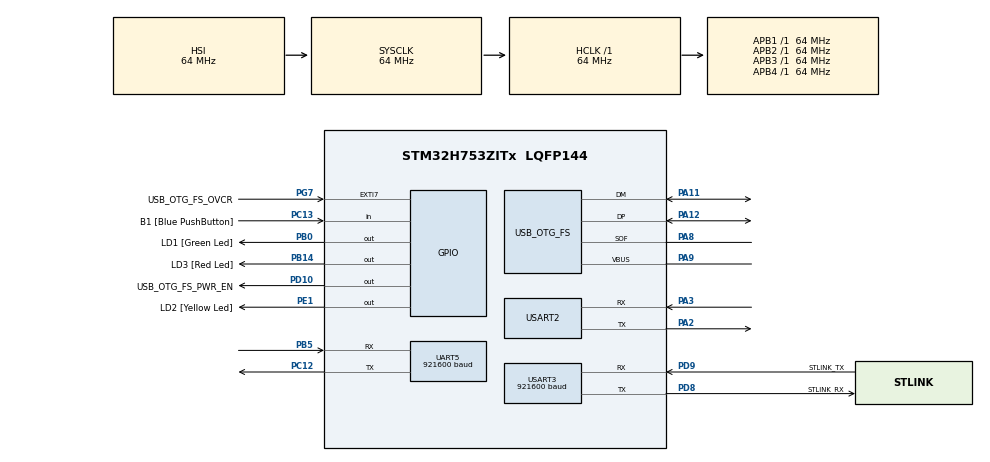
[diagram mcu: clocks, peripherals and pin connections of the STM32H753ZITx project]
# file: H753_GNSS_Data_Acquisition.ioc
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CORTEX_M7.CPU_DCache=Disabled
CORTEX_M7.CPU_ICache=Disabled
CORTEX_M7.MPU_Control=__NULL
Dma.Request0=USART2_RX
Dma.USART2_RX.0.Direction=DMA_PERIPH_TO_MEMORY
Dma.USART2_RX.0.EventEnable=DISABLE
Dma.USART2_RX.0.FIFOMode=DMA_FIFOMODE_DISABLE
Dma.USART2_RX.0.Instance=DMA1_Stream0
Dma.USART2_RX.0.MemDataAlignment=DMA_MDATAALIGN_BYTE
Dma.USART2_RX.0.MemInc=DMA_MINC_ENABLE
Dma.USART2_RX.0.Mode=DMA_CIRCULAR
Dma.USART2_RX.0.PeriphDataAlignment=DMA_PDATAALIGN_BYTE
Dma.USART2_RX.0.PeriphInc=DMA_PINC_DISABLE
Dma.USART2_RX.0.Polarity=HAL_DMAMUX_REQ_GEN_RISING
Dma.USART2_RX.0.Priority=DMA_PRIORITY_LOW
Dma.USART2_RX.0.RequestNumber=1
Dma.USART2_RX.0.SignalID=NONE
Dma.USART2_RX.0.SyncEnable=DISABLE
Dma.USART2_RX.0.SyncPolarity=HAL_DMAMUX_SYNC_NO_EVENT
Dma.USART2_RX.0.SyncRequestNumber=1
Dma.USART2_RX.0.SyncSignalID=NONE
Mcu.Family=STM32H7
Mcu.Name=STM32H753ZITx
Mcu.Package=LQFP144
NVIC.DMA1_Stream0_IRQn=true\:0\:0\:false\:false\:true\:false\:true\:true
NVIC.PriorityGroup=NVIC_PRIORITYGROUP_4
NVIC.UART5_IRQn=true\:0\:0\:false\:false\:true\:true\:true\:true
NVIC.USART2_IRQn=true\:0\:0\:false\:false\:true\:true\:true\:true
NVIC.USART3_IRQn=true\:0\:0\:false\:false\:true\:true\:true\:true
PA11.Mode=Device_Only
PA11.Signal=USB_OTG_FS_DM
PA12.Mode=Device_Only
PA12.Signal=USB_OTG_FS_DP
PA2.Mode=Asynchronous
PA2.Signal=USART2_TX
PA3.Mode=Asynchronous
PA3.Signal=USART2_RX
PA8.Mode=Activate_SOF_FS
PA8.Signal=USB_OTG_FS_SOF
PA9.Mode=Activate_VBUS
PA9.Signal=USB_OTG_FS_VBUS
PB0.GPIO_Label=LD1 [Green Led]
PB0.Signal=GPIO_Output
PB14.GPIO_Label=LD3 [Red Led]
PB14.Signal=GPIO_Output
PB5.Mode=Asynchronous
PB5.Signal=UART5_RX
PC12.Mode=Asynchronous
PC12.Signal=UART5_TX
PC13.GPIO_Label=B1 [Blue PushButton]
PC13.Signal=GPIO_Input
PC14-OSC32_IN\ (OSC32_IN).Signal=RCC_OSC32_IN
PC15-OSC32_OUT\ (OSC32_OUT).Signal=RCC_OSC32_OUT
PD10.GPIO_Label=USB_OTG_FS_PWR_EN
PD10.Signal=GPIO_Output
PD8.GPIO_Label=STLINK_RX
PD8.Mode=Asynchronous
PD8.Signal=USART3_TX
PD9.GPIO_Label=STLINK_TX
PD9.Mode=Asynchronous
PD9.Signal=USART3_RX
PE1.GPIO_Label=LD2 [Yellow Led]
PE1.Signal=GPIO_Output
PG7.GPIO_Label=USB_OTG_FS_OVCR
PG7.Signal=GPXTI7
PH0-OSC_IN\ (PH0).Mode=HSE-External-Oscillator
PH0-OSC_IN\ (PH0).Signal=RCC_OSC_IN
PH1-OSC_OUT\ (PH1).Mode=HSE-External-Oscillator
PH1-OSC_OUT\ (PH1).Signal=RCC_OSC_OUT
ProjectManager.HeapSize=0x200
ProjectManager.StackSize=0x400
ProjectManager.TargetToolchain=STM32CubeIDE
RCC.ADCFreq_Value=16125000
RCC.APB1Freq_Value=64000000
RCC.APB2Freq_Value=64000000
RCC.APB3Freq_Value=64000000
RCC.APB4Freq_Value=64000000
RCC.CortexFreq_Value=64000000
RCC.DIVM1=1
RCC.DIVN1=24
RCC.DIVQ1=4
RCC.HCLKFreq_Value=64000000
RCC.HSE_VALUE=8000000
RCC.PLLFRACN=0
RCC.PWR_Regulator_Voltage_Scale=PWR_REGULATOR_VOLTAGE_SCALE2
RCC.SYSCLKFreq_VALUE=64000000
RCC.USBFreq_Value=48000000
UART5.BaudRate=921600
USART2.VirtualMode-Asynchronous=VM_ASYNC
USART3.AutoBaudRateEnableParam=UART_ADVFEATURE_AUTOBAUDRATE_DISABLE
USART3.BaudRate=921600
USART3.ClockPrescaler=PRESCALER_DIV1
USART3.DMADisableonRxErrorParam=ADVFEATURE_DMA_ENABLEONRXERROR
USART3.DataInvertParam=ADVFEATURE_DATAINV_DISABLE
USART3.FIFOMode=FIFOMODE_DISABLE
USART3.MSBFirstParam=ADVFEATURE_MSBFIRST_DISABLE
USART3.Mode=MODE_TX_RX
USART3.OneBitSampling=UART_ONE_BIT_SAMPLE_DISABLE
USART3.OverSampling=UART_OVERSAMPLING_16
USART3.OverrunDisableParam=ADVFEATURE_OVERRUN_ENABLE
USART3.Parity=PARITY_NONE
USART3.RXFIFOThreshold=RXFIFO_THRESHOLD_1EIGHTHFULL
USART3.RxPinLevelInvertParam=ADVFEATURE_RXINV_DISABLE
USART3.StopBits=STOPBITS_1
USART3.SwapParam=ADVFEATURE_SWAP_DISABLE
USART3.TXFIFOThreshold=TXFIFO_THRESHOLD_1EIGHTHFULL
USART3.TxPinLevelInvertParam=ADVFEATURE_TXINV_DISABLE
USART3.VirtualMode-Asynchronous=VM_ASYNC
USART3.WordLength=WORDLENGTH_8B
USB_OTG_FS.Sof_enable=ENABLE
USB_OTG_FS.VirtualMode=Device_Only
USB_OTG_FS.battery_charging_enable=ENABLE
USB_OTG_FS.low_power_enable=DISABLE
USB_OTG_FS.lpm_enable=DISABLE
USB_OTG_FS.use_dedicated_ep1=DISABLE
USB_OTG_FS.vbus_sensing_enable=ENABLE
board=NUCLEO-H753ZI

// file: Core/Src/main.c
/* USER CODE BEGIN Header */
/**
  ******************************************************************************
  * @file           : main.c
  * @brief          : Main program body
  ******************************************************************************
  * @attention
  *
  * Copyright (c) 2024 STMicroelectronics.
  * All rights reserved.
  *
  * This software is licensed under terms that can be found in the LICENSE file
  * in the root directory of this software component.
  * If no LICENSE file comes with this software, it is provided AS-IS.
  *
  ******************************************************************************
  */
/* USER CODE END Header */
#include "main.h"
#include "dma.h"
#include "usart.h"
#include "usb_otg.h"
#include "gpio.h"

/* USER CODE BEGIN Includes */
#include "GPSUtils.h"
/* USER CODE END Includes */

/* USER CODE BEGIN PV */
#define UART_BUFFER_SIZE 3000

uint8_t rxBuffer[UART_BUFFER_SIZE];
uint8_t rxData;
uint16_t rxIndex = 0;
volatile uint8_t sentence_ready = 0;
volatile uint8_t parsing_complete = 0;
GNGGA_Data gngga_data;
GNRMC_Data gnrmc_data;
GNGLL_Data gngll_data;
GNVTG_Data gnvtk_data;
GSA_Talker_Data gsa_talker_gp, gsa_talker_gl, gsa_talker_ga, gsa_talker_gb;
volatile uint8_t data_ready = 0;
volatile uint32_t command_counter = 0;
/* Global structure to hold all satellite data for the current PPS */
SatelliteData satellite_data;

/* USER CODE END PV */

void SystemClock_Config(void);
/* USER CODE BEGIN PFP */
void parse_data(void);
void reset_satellite_data(void);
void GNSS_data_to_PC(void);
/* USER CODE END PFP */

/* USER CODE BEGIN 0 */
int _write(int fd, char* ptr, int len) {
  HAL_StatusTypeDef hstatus;

  if (fd == 1 || fd == 2) {
    hstatus = HAL_UART_Transmit(&huart3, (uint8_t *) ptr, len, HAL_MAX_DELAY);
    if (hstatus == HAL_OK)
      return len;
    else
      return -1;
  }
  return -1;
}

/* USER CODE END 0 */

int main(void)
{

  /* MCU Configuration--------------------------------------------------------*/

  /* Reset of all peripherals, Initializes the Flash interface and the Systick. */
  HAL_Init();

  /* Configure the system clock */
  SystemClock_Config();

  /* Initialize all configured peripherals */
  MX_GPIO_Init();
  MX_DMA_Init();
  MX_USB_OTG_FS_PCD_Init();
  MX_USART3_UART_Init();
  MX_USART2_UART_Init();
  MX_UART5_Init();
  /* USER CODE BEGIN 2 */
//  HAL_UART_Receive_IT(&huart2, &rxData, 1);
  HAL_UART_Receive_DMA(&huart2, &rxData, 1);
  reset_satellite_data();
  HAL_Delay(1000);
  /* USER CODE END 2 */

  /* Infinite loop */
  /* USER CODE BEGIN WHILE */
  while (1)
  {
	if (sentence_ready)
	{
	  parse_data();
	  sentence_ready = 0;
	}

	if(parsing_complete)
	{
		if (satellite_data.num_satellites > 0)
		{
			GNSS_data_to_PC();  // Transmit to PC only if valid satellite data
			GPS_data_debug();
		}

	  parsing_complete = 0;
	  reset_satellite_data();  // Reset satellite data
	}
    /* USER CODE END WHILE */

  }
}

void SystemClock_Config(void)
{
  RCC_OscInitTypeDef RCC_OscInitStruct = {0};
  RCC_ClkInitTypeDef RCC_ClkInitStruct = {0};

  /** Supply configuration update enable
  */
  HAL_PWREx_ConfigSupply(PWR_LDO_SUPPLY);

  /** Configure the main internal regulator output voltage
  */
  __HAL_PWR_VOLTAGESCALING_CONFIG(PWR_REGULATOR_VOLTAGE_SCALE2);

  while(!__HAL_PWR_GET_FLAG(PWR_FLAG_VOSRDY)) {}

  /** Initializes the RCC Oscillators according to the specified parameters
  * in the RCC_OscInitTypeDef structure.
  */
  RCC_OscInitStruct.OscillatorType = RCC_OSCILLATORTYPE_HSI|RCC_OSCILLATORTYPE_HSE;
  RCC_OscInitStruct.HSEState = RCC_HSE_ON;
  RCC_OscInitStruct.HSIState = RCC_HSI_DIV1;
  RCC_OscInitStruct.HSICalibrationValue = RCC_HSICALIBRATION_DEFAULT;
  RCC_OscInitStruct.PLL.PLLState = RCC_PLL_ON;
  RCC_OscInitStruct.PLL.PLLSource = RCC_PLLSOURCE_HSE;
  RCC_OscInitStruct.PLL.PLLM = 1;
  RCC_OscInitStruct.PLL.PLLN = 24;
  RCC_OscInitStruct.PLL.PLLP = 2;
  RCC_OscInitStruct.PLL.PLLQ = 4;
  RCC_OscInitStruct.PLL.PLLR = 2;
  RCC_OscInitStruct.PLL.PLLRGE = RCC_PLL1VCIRANGE_3;
  RCC_OscInitStruct.PLL.PLLVCOSEL = RCC_PLL1VCOWIDE;
  RCC_OscInitStruct.PLL.PLLFRACN = 0;
  if (HAL_RCC_OscConfig(&RCC_OscInitStruct) != HAL_OK)
  {
    Error_Handler();
  }

  /** Initializes the CPU, AHB and APB buses clocks
  */
  RCC_ClkInitStruct.ClockType = RCC_CLOCKTYPE_HCLK|RCC_CLOCKTYPE_SYSCLK
                              |RCC_CLOCKTYPE_PCLK1|RCC_CLOCKTYPE_PCLK2
                              |RCC_CLOCKTYPE_D3PCLK1|RCC_CLOCKTYPE_D1PCLK1;
  RCC_ClkInitStruct.SYSCLKSource = RCC_SYSCLKSOURCE_HSI;
  RCC_ClkInitStruct.SYSCLKDivider = RCC_SYSCLK_DIV1;
  RCC_ClkInitStruct.AHBCLKDivider = RCC_HCLK_DIV1;
  RCC_ClkInitStruct.APB3CLKDivider = RCC_APB3_DIV1;
  RCC_ClkInitStruct.APB1CLKDivider = RCC_APB1_DIV1;
  RCC_ClkInitStruct.APB2CLKDivider = RCC_APB2_DIV1;
  RCC_ClkInitStruct.APB4CLKDivider = RCC_APB4_DIV1;

  if (HAL_RCC_ClockConfig(&RCC_ClkInitStruct, FLASH_LATENCY_1) != HAL_OK)
  {
    Error_Handler();
  }
}

/* USER CODE BEGIN 4 */
void HAL_UART_RxCpltCallback(UART_HandleTypeDef *huart)
{
    if (huart->Instance == USART2)
    {
        if (rxData == '\n')
        {
            sentence_ready = 1;
            rxBuffer[rxIndex] = '\0';
            memset(&rxBuffer[rxIndex + 1], 0, UART_BUFFER_SIZE - rxIndex - 1);
            rxIndex = 0;
        }
        else
        {
            rxBuffer[rxIndex++] = rxData;
            if (rxIndex >= UART_BUFFER_SIZE)
            {
                rxIndex = 0;
            }
        }
        HAL_UART_Receive_DMA(&huart2, &rxData, 1);
    }
}

void reset_satellite_data(void) {
    // Iterate over all satellites and reset SNR values where the second signal is missing
    for (int i = 0; i < satellite_data.num_satellites; i++) {
        SatelliteInfo *sat = &satellite_data.satellites[i];

        // Handle GPS (L1, L5)
        if (strncmp(sat->talker_id, "GP", 2) == 0) {
            if (sat->num_signals == 1 && strcmp(sat->signals[0].signal_id, "L1") == 0) {
                strncpy(sat->signals[1].signal_id, "L5", sizeof(sat->signals[1].signal_id));
                sat->signals[1].snr = -1;
                sat->num_signals = 2;
            } else if (sat->num_signals == 1 && strcmp(sat->signals[0].signal_id, "L5") == 0) {
                strncpy(sat->signals[1].signal_id, "L1", sizeof(sat->signals[1].signal_id));
                sat->signals[1].snr = -1;
                sat->num_signals = 2;
            }
        }
        // Handle Galileo (E5a, E1)
        else if (strncmp(sat->talker_id, "GA", 2) == 0) {
            if (sat->num_signals == 1 && strcmp(sat->signals[0].signal_id, "E5a") == 0) {
                strncpy(sat->signals[1].signal_id, "E1", sizeof(sat->signals[1].signal_id));
                sat->signals[1].snr = -1;
                sat->num_signals = 2;
            } else if (sat->num_signals == 1 && strcmp(sat->signals[0].signal_id, "E1") == 0) {
                strncpy(sat->signals[1].signal_id, "E5a", sizeof(sat->signals[1].signal_id));
                sat->signals[1].snr = -1;
                sat->num_signals = 2;
            }
        }
        // Handle BDS (B1I, B2a)
        else if (strncmp(sat->talker_id, "GB", 2) == 0) {
            if (sat->num_signals == 1 && strcmp(sat->signals[0].signal_id, "B1I") == 0) {
                strncpy(sat->signals[1].signal_id, "B2a", sizeof(sat->signals[1].signal_id));
                sat->signals[1].snr = -1;
                sat->num_signals = 2;
            } else if (sat->num_signals == 1 && strcmp(sat->signals[0].signal_id, "B2a") == 0) {
                strncpy(sat->signals[1].signal_id, "B1I", sizeof(sat->signals[1].signal_id));
                sat->signals[1].snr = -1;
                sat->num_signals = 2;
            }
        }
        // GLONASS only has L1
        else if (strncmp(sat->talker_id, "GL", 2) == 0) {
            // Ensure that GLONASS only has one signal
            if (sat->num_signals == 1 && strcmp(sat->signals[0].signal_id, "L1") == 0) {
                sat->signals[1].snr = -1;
            }
        }
    }

    // Free the satellite data
    if (satellite_data.satellites) {
        free(satellite_data.satellites);
        satellite_data.satellites = NULL;
    }
    satellite_data.num_satellites = 0;
}

void parse_data(void)
{
    static GSV_Data gsv_data = {0};

    HAL_GPIO_WritePin(GPIOE, LD2_Pin, GPIO_PIN_SET);

    if (strncmp((char *)rxBuffer, "$GNGGA", 6) == 0)
    {
        parseGNGGA((char *)rxBuffer, &gngga_data);
    }
    else if (strncmp((char *)rxBuffer, "$GNRMC", 6) == 0)
    {
        parseGNRMC((char *)rxBuffer, &gnrmc_data);
    }
    else if (strncmp((char *)rxBuffer, "$GNGLL", 6) == 0)
    {
        parseGNGLL((char *)rxBuffer, &gngll_data);
    }
    else if (strncmp((char *)rxBuffer, "$GNVTG", 6) == 0)
    {
        parseGNVTG((char *)rxBuffer, &gnvtk_data);
    }
    else if (strncmp((char *)rxBuffer, "$GNGSA", 6) == 0)
    {
        char talker_id_str[2] = {0};
        int comma_count = 0;
        int buffer_len = strlen((char *)rxBuffer);
        for (int i = 0; i < buffer_len; i++)
        {
            if (rxBuffer[i] == ',')
            {
                comma_count++;
            }
            if (rxBuffer[i] == '*' && comma_count >= 16) // The GSA sentence has 16 commas
            {
                if (i > 1 && rxBuffer[i - 1] != ',')
                {
                    talker_id_str[0] = rxBuffer[i - 1]; // Store the last character before '*'
                    break;
                }
            }
        }
        int talker_id = atoi(talker_id_str);
        switch (talker_id)
        {
            case 1:  // GPS
                parseGNGSA((char *)rxBuffer, &gsa_talker_gp);
                break;
            case 2:  // GLONASS
                parseGNGSA((char *)rxBuffer, &gsa_talker_gl);
                break;
            case 3:  // Galileo
                parseGNGSA((char *)rxBuffer, &gsa_talker_ga);
                break;
            case 4:  // Beidou (BDS)
                parseGNGSA((char *)rxBuffer, &gsa_talker_gb);
                break;
            default:
                break;
        }
    }

    else if (strncmp((char *)rxBuffer, "$GPGSV", 6) == 0 || strncmp((char *)rxBuffer, "$GLGSV", 6) == 0 ||
             strncmp((char *)rxBuffer, "$GAGSV", 6) == 0 || strncmp((char *)rxBuffer, "$GBGSV", 6) == 0)
    {
        parseGSV((char *)rxBuffer, &gsv_data, &satellite_data);
    }
    //else if (strncmp((char *)rxBuffer, "$GQGSV,1,1,00,8", 15) == 0)
    else if (strncmp((char *)rxBuffer, "$GQGSV", 6) == 0)
    {

        parsing_complete = 1;
    }

    sentence_ready = 0;
    HAL_GPIO_WritePin(GPIOE, LD2_Pin, GPIO_PIN_RESET);
}
void GNSS_data_to_PC(void)
{
    HAL_GPIO_WritePin(GPIOB, LD3_Pin, GPIO_PIN_SET);
    char buffer[2048];
    int offset = 0;
    int checksum = 0;

    // Transmit GNSS position data (GNRMC)
    offset += snprintf(buffer + offset, sizeof(buffer) - offset, "$%s,%s,%s,%s,%s,%s,%s",
                       gnrmc_data.utc_time,       // UTC Time
                       gnrmc_data.latitude,       // Latitude
                       gnrmc_data.ns_indicator,   // N/S Indicator
                       gnrmc_data.longitude,      // Longitude
                       gnrmc_data.ew_indicator,   // E/W Indicator
                       gnrmc_data.speed_over_ground, // Speed over ground
                       gnrmc_data.date);          // Date

    // Transmit number of satellites in view
    offset += snprintf(buffer + offset, sizeof(buffer) - offset, ",%d", satellite_data.num_satellites);

    // Transmit satellite data (talker_id, sat_id, elevation, azimuth, SignalID, SNR, SignalID, SNR)
    for (int i = 0; i < satellite_data.num_satellites; i++) {
        SatelliteInfo *sat = &satellite_data.satellites[i];
        int snr_1 = sat->signals[0].snr;
        int snr_2 = -1; // Default SNR value for second signal if not present

        const char *signal_1_id = sat->signals[0].signal_id;
        const char *signal_2_id = ""; // Set appropriate second signal ID

        // Determine the second signal ID based on the GNSS system
        if (strncmp(sat->talker_id, "GP", 2) == 0) {
            signal_2_id = "L5";
        } else if (strncmp(sat->talker_id, "GA", 2) == 0) {
            signal_2_id = "E1";
        } else if (strncmp(sat->talker_id, "GB", 2) == 0) {
            signal_2_id = "B2a";
        } else if (strncmp(sat->talker_id, "GL", 2) == 0) {
            // GLONASS only has L1, so no second signal for GLONASS
            signal_2_id = "L1";
        }

        // If the satellite has a second signal, update SNR
        if (sat->num_signals > 1) {
            snr_2 = sat->signals[1].snr;
        }

        offset += snprintf(buffer + offset, sizeof(buffer) - offset,
                           ",%s,%d,%d,%d,%s,%d,%s,%d",
                           sat->talker_id,          // Talker ID (e.g., GP, GL)
                           sat->sat_id,             // Satellite ID
                           sat->elevation,          // Elevation
                           sat->azimuth,            // Azimuth
                           signal_1_id,             // First Signal ID (e.g., L1, L5, etc.)
                           snr_1,                   // First SNR
                           signal_2_id,             // Second Signal ID (set as per GNSS system)
                           snr_2);                  // Second SNR (-1 if missing)
    }

    // Transmit GSA data (GP, GL, GA, GB)
    GSA_Talker_Data *gsa_talkers[] = { &gsa_talker_gp, &gsa_talker_gl, &gsa_talker_ga, &gsa_talker_gb };
    const char *talker_ids[] = { "GP", "GL", "GA", "GB" };
    int total_active_satellites = 0;

    // Calculate total active satellites
    for (int i = 0; i < 4; i++) {
        total_active_satellites += gsa_talkers[i]->active_satellites;
    }

    // Transmit total active satellites
    offset += snprintf(buffer + offset, sizeof(buffer) - offset, ",%d", total_active_satellites);

    // Transmit active satellites data and DOP values for each system
    for (int i = 0; i < 4; i++) {
        GSA_Talker_Data *gsa = gsa_talkers[i];
        if (gsa->active_satellites > 0) {
            offset += snprintf(buffer + offset, sizeof(buffer) - offset, ",%s", talker_ids[i]);
            for (int j = 0; j < gsa->active_satellites; j++) {
                offset += snprintf(buffer + offset, sizeof(buffer) - offset, ",%d", atoi(gsa->sat_ids[j]));
            }
            offset += snprintf(buffer + offset, sizeof(buffer) - offset, ",%s,%s,%s", gsa->pdop, gsa->hdop, gsa->vdop);
        }
    }

    // Calculate checksum
    for (int i = 1; i < offset; i++) {
        checksum ^= buffer[i];  // XOR for checksum
    }

    // Append checksum and newline
    offset += snprintf(buffer + offset, sizeof(buffer) - offset, "*%02X\r\n", checksum);

    // Transmit the buffer to the PC via UART
    HAL_UART_Transmit(&huart3, (uint8_t *)buffer, offset, HAL_MAX_DELAY);
    HAL_GPIO_WritePin(GPIOB, LD3_Pin, GPIO_PIN_RESET);
}

void GPS_data_debug(void)  // for debugging
{
    HAL_GPIO_WritePin(GPIOB, LD3_Pin, GPIO_PIN_SET);  // Debugging LED ON
    char buffer[2048];
    int offset = 0;
    int checksum = 0;

    // Start building the GNSS data message
    offset += snprintf(buffer + offset, sizeof(buffer) - offset, "$");

    // Transmit the timestamp (UTC time)
    offset += snprintf(buffer + offset, sizeof(buffer) - offset, "%s", gnrmc_data.utc_time);  // UTC Time

    // Transmit the number of satellites in view
    offset += snprintf(buffer + offset, sizeof(buffer) - offset, ",SatInView:%d", satellite_data.num_satellites);

    // Group satellites by their talker ID, similar to how it's done for ActiveSat
    // GP (GPS satellites in view)
    int gp_found = 0;
    for (int i = 0; i < satellite_data.num_satellites; i++) {
        if (strncmp(satellite_data.satellites[i].talker_id, "GP", 2) == 0) {
            if (!gp_found) {
                offset += snprintf(buffer + offset, sizeof(buffer) - offset, ",GP");
                gp_found = 1;
            }
            offset += snprintf(buffer + offset, sizeof(buffer) - offset, ",%d", satellite_data.satellites[i].sat_id);
        }
    }

    // GL (GLONASS satellites in view)
    int gl_found = 0;
    for (int i = 0; i < satellite_data.num_satellites; i++) {
        if (strncmp(satellite_data.satellites[i].talker_id, "GL", 2) == 0) {
            if (!gl_found) {
                offset += snprintf(buffer + offset, sizeof(buffer) - offset, ",GL");
                gl_found = 1;
            }
            offset += snprintf(buffer + offset, sizeof(buffer) - offset, ",%d", satellite_data.satellites[i].sat_id);
        }
    }

    // GA (Galileo satellites in view)
    int ga_found = 0;
    for (int i = 0; i < satellite_data.num_satellites; i++) {
        if (strncmp(satellite_data.satellites[i].talker_id, "GA", 2) == 0) {
            if (!ga_found) {
                offset += snprintf(buffer + offset, sizeof(buffer) - offset, ",GA");
                ga_found = 1;
            }
            offset += snprintf(buffer + offset, sizeof(buffer) - offset, ",%d", satellite_data.satellites[i].sat_id);
        }
    }

    // GB (Beidou satellites in view)
    int gb_found = 0;
    for (int i = 0; i < satellite_data.num_satellites; i++) {
        if (strncmp(satellite_data.satellites[i].talker_id, "GB", 2) == 0) {
            if (!gb_found) {
                offset += snprintf(buffer + offset, sizeof(buffer) - offset, ",GB");
                gb_found = 1;
            }
            offset += snprintf(buffer + offset, sizeof(buffer) - offset, ",%d", satellite_data.satellites[i].sat_id);
        }
    }

    // Now append the GSA data (number of active satellites across different constellations)
    // Calculate the total number of active satellites across all systems
    int total_active_satellites = gsa_talker_gp.active_satellites +
                                  gsa_talker_gl.active_satellites +
                                  gsa_talker_ga.active_satellites +
                                  gsa_talker_gb.active_satellites;

    // Transmit the total number of active satellites
    offset += snprintf(buffer + offset, sizeof(buffer) - offset, ",ActiveSat:%d", total_active_satellites);

    // Transmit active satellite IDs for each constellation (GP, GL, GA, GB)

    // Transmit GP (GPS) active satellite IDs
    if (gsa_talker_gp.active_satellites > 0) {
        offset += snprintf(buffer + offset, sizeof(buffer) - offset, ",GP");
        for (int i = 0; i < gsa_talker_gp.active_satellites; i++) {
            offset += snprintf(buffer + offset, sizeof(buffer) - offset, ",%s", gsa_talker_gp.sat_ids[i]);
        }
    }

    // Transmit GL (GLONASS) active satellite IDs
    if (gsa_talker_gl.active_satellites > 0) {
        offset += snprintf(buffer + offset, sizeof(buffer) - offset, ",GL");
        for (int i = 0; i < gsa_talker_gl.active_satellites; i++) {
            offset += snprintf(buffer + offset, sizeof(buffer) - offset, ",%s", gsa_talker_gl.sat_ids[i]);
        }
    }

    // Transmit GA (Galileo) active satellite IDs
    if (gsa_talker_ga.active_satellites > 0) {
        offset += snprintf(buffer + offset, sizeof(buffer) - offset, ",GA");
        for (int i = 0; i < gsa_talker_ga.active_satellites; i++) {
            offset += snprintf(buffer + offset, sizeof(buffer) - offset, ",%s", gsa_talker_ga.sat_ids[i]);
        }
    }

    // Transmit GB (Beidou) active satellite IDs
    if (gsa_talker_gb.active_satellites > 0) {
        offset += snprintf(buffer + offset, sizeof(buffer) - offset, ",GB");
        for (int i = 0; i < gsa_talker_gb.active_satellites; i++) {
            offset += snprintf(buffer + offset, sizeof(buffer) - offset, ",%s", gsa_talker_gb.sat_ids[i]);
        }
    }

    // Calculate checksum (excluding the initial '$')
    for (int i = 1; i < offset; i++) {
        checksum ^= buffer[i];
    }

    // Append checksum and newline
    offset += snprintf(buffer + offset, sizeof(buffer) - offset, "*%02X\r\n", checksum);

    // Transmit the buffer to the PC
    HAL_UART_Transmit(&huart5, (uint8_t *)buffer, strlen(buffer), HAL_MAX_DELAY);

    // Toggle LED off after transmission
    HAL_GPIO_WritePin(GPIOB, LD3_Pin, GPIO_PIN_RESET);
}

/* USER CODE END 4 */

void Error_Handler(void)
{
  __disable_irq();
  while (1)
  {
  }
}
